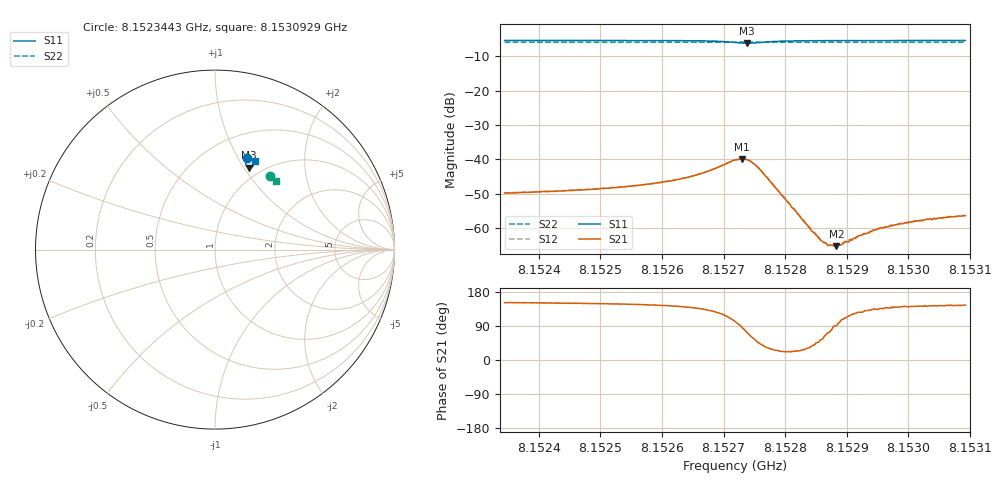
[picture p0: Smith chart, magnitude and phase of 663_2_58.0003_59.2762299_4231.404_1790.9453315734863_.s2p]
#  HZ  S  RI  R  50.00
! Rohde & Schwarz Vector Network Analyzer
! Rohde-Schwarz,ZNB20-2Port,1311601062101988,3.16
! Created: UTC 3/21/2024, 1:20:02 AM
! freq[Hz]  re:S11  im:S11  re:S21  im:S21  re:S12  im:S12  re:S22  im:S22
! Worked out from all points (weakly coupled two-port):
!   401 points, 8.1523443 GHz to 8.1530929 GHz, reference 50 ohm
!   highest |S21| = -39.82 dB at 8.1527299 GHz (marker M1); lowest = -65.3 dB at 8.1528833 GHz (marker M2)
!   lowest |S11| = -6.1 dB at 8.1527373 GHz (marker M3), VSWR 2.95, Z = 43.5 + j52.5 ohm
!   |S11| at or under -10 dB: nowhere
!   |S22| runs from -5.9 to -5.8 dB; largest |S21 - S12| = 0.00026
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8.15234435e9  0.1805 0.5096  -0.00285 0.00155  -0.00286 0.00157  0.3038 0.4113
8.15246973e9  0.1905 0.5058  -0.00312 0.00183  -0.00309 0.0019  0.3103 0.4064
8.15254646e9  0.1974 0.5026  -0.00341 0.00221  -0.00344 0.00225  0.3142 0.4034
8.15259512e9  0.2026 0.4997  -0.00373 0.00265  -0.00371 0.00275  0.3166 0.4013
8.15262693e9  0.2066 0.4966  -0.00402 0.00319  -0.004 0.00327  0.3183 0.3998
8.15266062e9  0.2118 0.4911  -0.00438 0.00428  -0.00436 0.00438  0.3199 0.3983
8.15271863e9  0.209 0.4613  -0.00203 0.00963  -0.00193 0.00964  0.3221 0.3951
8.15272986e9  0.1972 0.4555  0.000695 0.0102  0.000718 0.0104  0.3221 0.3946
8.15273735e9  0.1871 0.4562  0.00271 0.00956  0.0028 0.00973  0.3221 0.3944
8.1527467e9  0.1768 0.4634  0.00455 0.00777  0.00461 0.00772  0.3223 0.3946
8.1527598e9  0.1717 0.4771  0.00527 0.0047  0.00527 0.00473  0.323 0.3944
8.15284402e9  0.1949 0.5001  0.00071 0.000547  0.000748 0.000533  0.3281 0.3915
8.15285899e9  0.1975 0.5001  0.000383 0.000525  0.000396 0.000511  0.3288 0.3911
8.1528646e9  0.1984 0.5  0.000258 0.000549  0.000289 0.000556  0.329 0.3908
8.15287209e9  0.1995 0.4998  0.000167 0.000546  0.000167 0.000553  0.3295 0.3906
8.15288332e9  0.2011 0.4997  -1.33e-05 0.000545  -4.61e-05 0.000596  0.33 0.3899
8.1528908e9  0.2021 0.4995  -0.000146 0.000553  -0.000105 0.000566  0.3305 0.3897
8.15291888e9  0.2053 0.499  -0.000452 0.000624  -0.000442 0.000619  0.3318 0.3884
8.1529432e9  0.208 0.4983  -0.000656 0.00067  -0.000644 0.000676  0.3331 0.3874
8.1529694e9  0.2105 0.4977  -0.000785 0.000725  -0.000778 0.000719  0.3343 0.3862
8.15302742e9  0.2157 0.4961  -0.00106 0.000789  -0.00107 0.00083  0.3371 0.3837
8.15309292e9  0.2207 0.4942  -0.00125 0.000866  -0.00118 0.000922  0.3401 0.381
